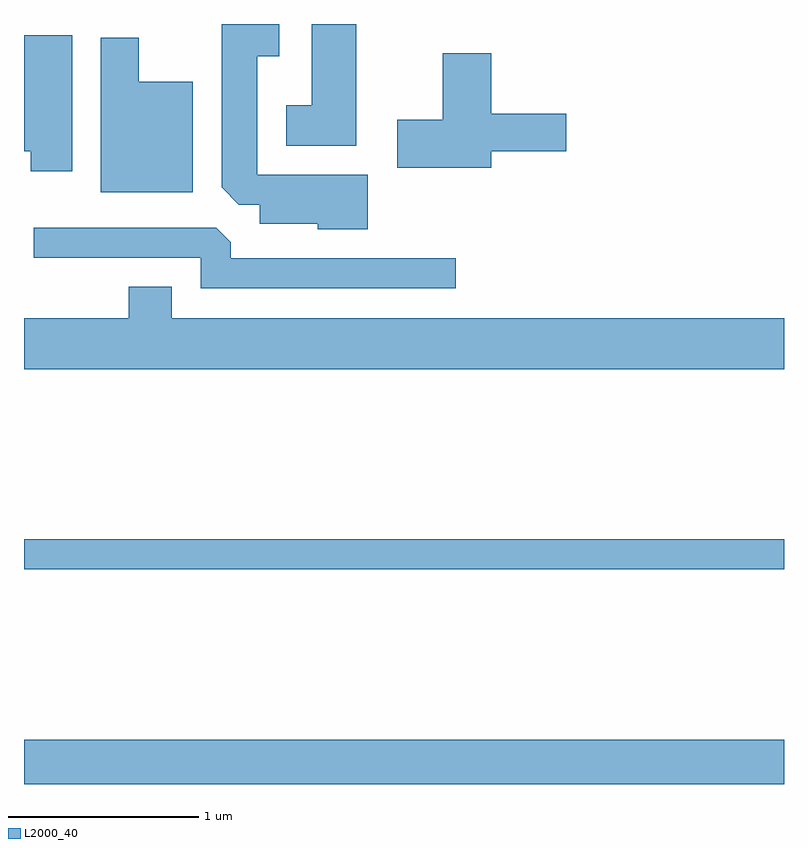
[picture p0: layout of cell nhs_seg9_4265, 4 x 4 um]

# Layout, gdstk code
import gdstk
lib = gdstk.Library(unit=1e-6, precision=1e-09)
def R(c, l, rs):  # rectangles x0, y0, x1, y1
    for r in rs: c.add(gdstk.rectangle(r[:2], r[2:], *l))
def P(c, l, *ps):  # polygons
    for p in ps: c.add(gdstk.Polygon(p, *l))
L2000_40 = (2000, 40)

nhs_seg9_4265 = lib.new_cell('nhs_seg9_4265')
R(nhs_seg9_4265, L2000_40, [(309.611,2078.432,313.611,2078.664), (309.611,2079.561,313.611,2079.719)])
P(nhs_seg9_4265, L2000_40, [(311.359,2082.432),(311.126,2082.432),(311.126,2082.004),(310.991,2082.004),(310.991,2081.791),(311.359,2081.791)],
  [(311.419,2081.639),(310.839,2081.639),(310.839,2082.261),(310.954,2082.261),(310.954,2082.432),(310.651,2082.432),(310.651,2081.572),(310.742,2081.481),(310.851,2081.481),(310.851,2081.381),(311.156,2081.381),(311.156,2081.351),(311.419,2081.351)],
  [(309.864,2082.374),(309.611,2082.374),(309.611,2081.761),(309.646,2081.761),(309.646,2081.656),(309.864,2081.656)],
  [(310.499,2082.129),(310.214,2082.129),(310.214,2082.359),(310.016,2082.359),(310.016,2081.546),(310.499,2081.546)],
  [(312.069,2081.761),(312.464,2081.761),(312.464,2081.959),(312.069,2081.959),(312.069,2082.279),(311.816,2082.279),(311.816,2081.929),(311.576,2081.929),(311.576,2081.676),(312.069,2081.676)],
  [(311.883,2081.199),(310.699,2081.199),(310.699,2081.284),(310.624,2081.359),(309.663,2081.359),(309.663,2081.201),(310.541,2081.201),(310.541,2081.041),(311.883,2081.041)],
  [(313.611,2080.884),(310.389,2080.884),(310.389,2081.049),(310.161,2081.049),(310.161,2080.884),(309.611,2080.884),(309.611,2080.616),(313.611,2080.616)])

lib.write_gds('nhs_seg9_4265.gds')
